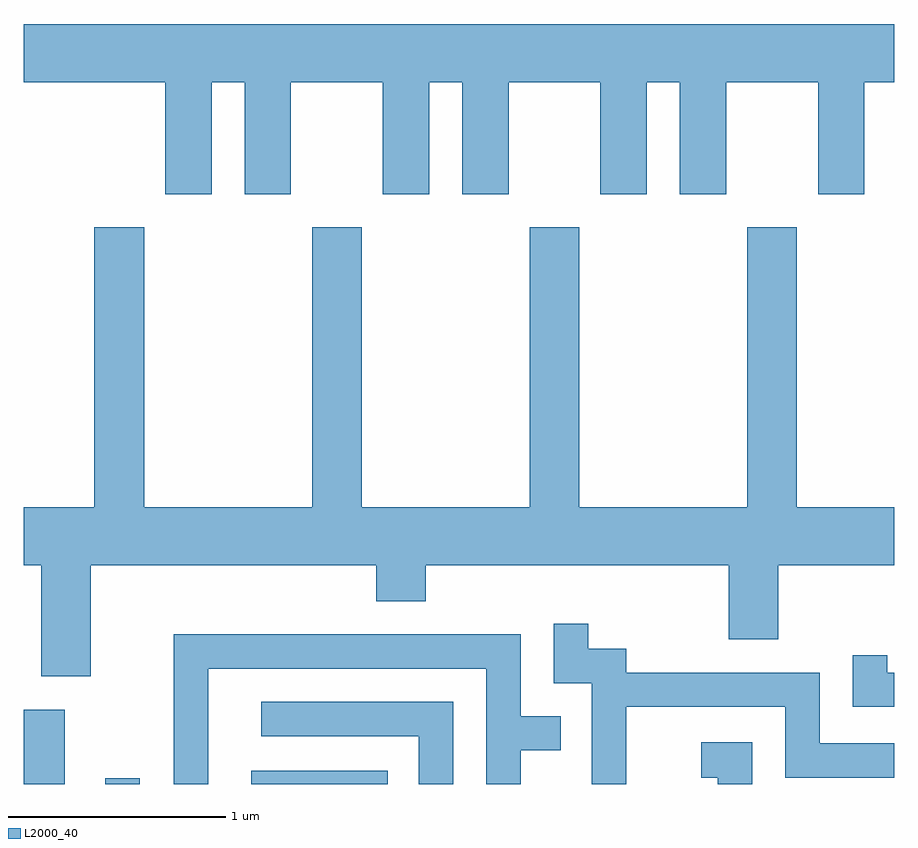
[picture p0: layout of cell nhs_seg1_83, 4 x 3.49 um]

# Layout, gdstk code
import gdstk
lib = gdstk.Library(unit=1e-6, precision=1e-09)
def R(c, l, rs):  # rectangles x0, y0, x1, y1
    for r in rs: c.add(gdstk.rectangle(r[:2], r[2:], *l))
def P(c, l, *ps):  # polygons
    for p in ps: c.add(gdstk.Polygon(p, *l))
L2000_40 = (2000, 40)

nhs_seg1_83 = lib.new_cell('nhs_seg1_83')
R(nhs_seg1_83, L2000_40, [(187.611,869.712,187.799,870.054), (187.986,869.712,188.144,869.738), (188.656,869.712,189.283,869.774)])
P(nhs_seg1_83, L2000_40, [(188.474,872.936),(188.626,872.936),(188.626,872.421),(188.839,872.421),(188.839,872.936),(189.261,872.936),(189.261,872.421),(189.474,872.421),(189.474,872.936),(189.626,872.936),(189.626,872.421),(189.839,872.421),(189.839,872.936),(190.261,872.936),(190.261,872.421),(190.474,872.421),(190.474,872.936),(190.626,872.936),(190.626,872.421),(190.839,872.421),(190.839,872.936),(191.261,872.936),(191.261,872.421),(191.474,872.421),(191.474,872.936),(191.611,872.936),(191.611,873.204),(187.611,873.204),(187.611,872.936),(188.261,872.936),(188.261,872.421),(188.474,872.421)],
  [(187.919,870.716),(189.231,870.716),(189.231,870.551),(189.459,870.551),(189.459,870.716),(190.851,870.716),(190.851,870.376),(191.079,870.376),(191.079,870.716),(191.611,870.716),(191.611,870.984),(191.164,870.984),(191.164,872.269),(190.936,872.269),(190.936,870.984),(190.164,870.984),(190.164,872.269),(189.936,872.269),(189.936,870.984),(189.164,870.984),(189.164,872.269),(188.936,872.269),(188.936,870.984),(188.164,870.984),(188.164,872.269),(187.936,872.269),(187.936,870.984),(187.611,870.984),(187.611,870.716),(187.691,870.716),(187.691,870.206),(187.919,870.206)],
  [(190.379,870.066),(191.111,870.066),(191.111,869.741),(191.611,869.741),(191.611,869.899),(191.269,869.899),(191.269,870.224),(190.379,870.224),(190.379,870.334),(190.204,870.334),(190.204,870.448),(190.046,870.448),(190.046,870.176),(190.221,870.176),(190.221,869.712),(190.379,869.712)],
  [(188.459,870.241),(189.736,870.241),(189.736,869.712),(189.894,869.712),(189.894,869.866),(190.078,869.866),(190.078,870.024),(189.894,870.024),(189.894,870.399),(188.301,870.399),(188.301,869.712),(188.459,869.712)],
  [(191.611,870.224),(191.579,870.224),(191.579,870.303),(191.421,870.303),(191.421,870.066),(191.611,870.066)],
  [(189.584,870.089),(188.703,870.089),(188.703,869.931),(189.426,869.931),(189.426,869.712),(189.584,869.712)],
  [(190.959,869.904),(190.723,869.904),(190.723,869.741),(190.801,869.741),(190.801,869.712),(190.959,869.712)])

lib.write_gds('nhs_seg1_83.gds')
